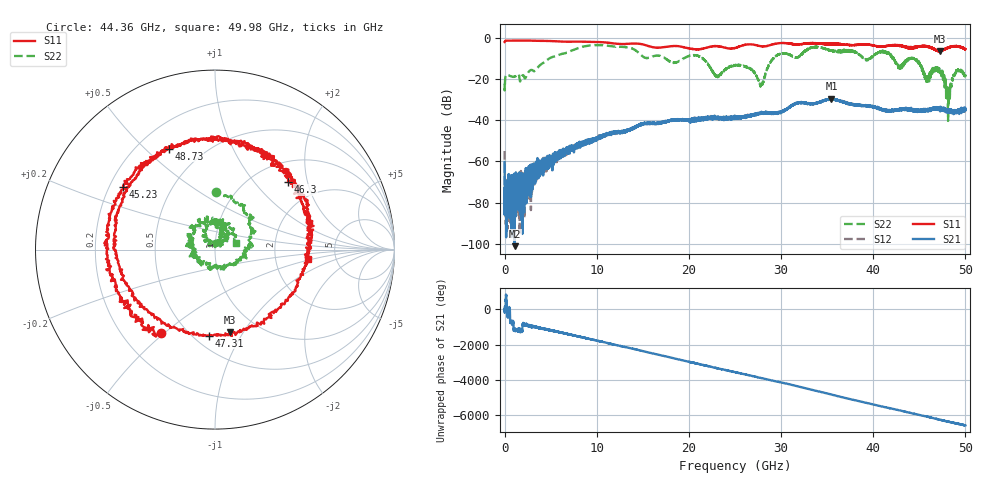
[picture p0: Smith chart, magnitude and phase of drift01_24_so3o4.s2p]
!Created with skrf (http://scikit-rf.org).
# Hz S RI R 50.0
!freq ReS11 ImS11 ReS21 ImS21 ReS12 ImS12 ReS22 ImS22
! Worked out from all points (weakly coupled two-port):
!   10001 points, 300 kHz to 50 GHz, reference 50 ohm
!   highest |S21| = -29.62 dB at 35.47 GHz (marker M1); lowest = -101.1 dB at 1.08 GHz (marker M2)
!   lowest |S11| = -6.6 dB at 47.21 GHz (marker M3), VSWR 2.76, Z = 37 - j43.7 ohm
!   |S11| at or under -10 dB: nowhere
!   |S22| runs from -40.4 to -3.6 dB; largest |S21 - S12| = 0.0036
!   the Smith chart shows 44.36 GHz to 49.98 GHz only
!   S11 on the Smith chart (normalised r, x): 44.36 GHz: 0.37, -0.49; 45.23 GHz: 0.26, +0.29; 46.3 GHz: 1.40, +1.53; 47.31 GHz: 0.60, -0.74; 48.73 GHz: 0.33, +0.59; 49.98 GHz: 3.10, -0.44
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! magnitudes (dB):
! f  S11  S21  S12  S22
! 300 kHz  -2.1  -60.3  -55.0  -22.3
! 255.3 MHz  -1.4  -71.6  -75.8  -18.0
! 1.08 GHz  -1.5  -101.1  -80.1  -18.9
! 8.335 GHz  -1.9  -52.7  -50.7  -4.6
! 16.67 GHz  -4.8  -41.4  -41.5  -8.7
! 20.96 GHz  -5.6  -40.1  -39.5  -8.8
! 23.08 GHz  -4.1  -39.2  -38.7  -18.6
! 25 GHz  -5.0  -39.2  -39.1  -13.6
! 27.84 GHz  -4.2  -36.7  -36.6  -22.8
! 29.48 GHz  -2.8  -36.7  -36.4  -8.8
! 33.34 GHz  -2.6  -32.2  -32.0  -4.8
! 35.47 GHz  -3.1  -29.6  -29.8  -6.5
! 41.67 GHz  -3.9  -35.3  -35.4  -7.6
! 44.36 GHz  -5.2  -35.3  -34.8  -9.8
! 45.23 GHz  -4.2  -35.5  -35.4  -14.4
! 46.3 GHz  -5.1  -35.0  -34.6  -16.5
! 47.21 GHz  -6.6  -34.3  -34.7  -16.5
! 47.31 GHz  -6.4  -34.7  -34.4  -15.6
! 48.12 GHz  -4.9  -35.3  -34.8  -36.3
! 48.73 GHz  -4.2  -37.1  -36.1  -18.4
! 49.98 GHz  -5.7  -34.7  -34.8  -18.3
! 50 GHz  -5.6  -34.6  -34.2  -18.5
